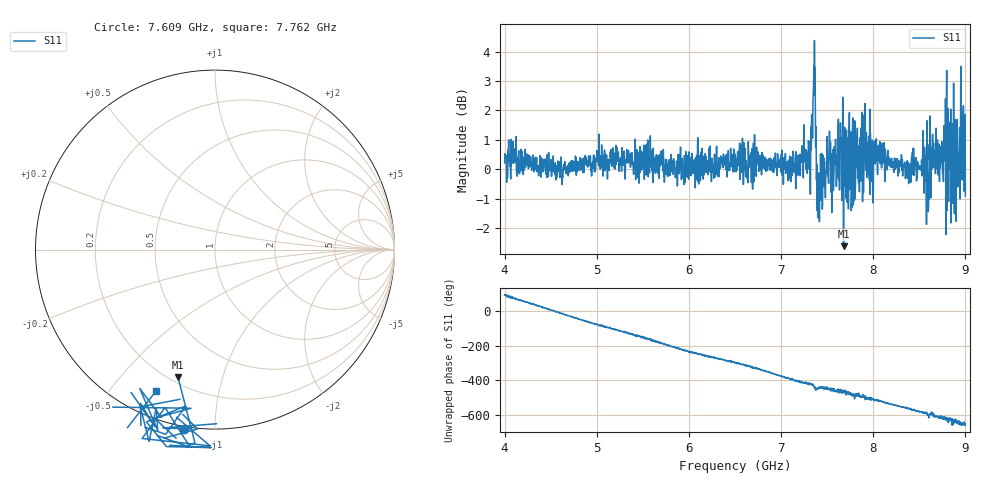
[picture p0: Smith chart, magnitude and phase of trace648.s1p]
! Created with skrf 1.8.0 (http://scikit-rf.org).
# Hz S RI R 50.0
!freq ReS11 ImS11
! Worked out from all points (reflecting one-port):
!   1601 points, 4 GHz to 9 GHz, reference 50 ohm
!   lowest |S11| = -2.6 dB at 7.678 GHz (marker M1), VSWR 6.72, Z = 11.5 - j36.3 ohm
!   phase of S11 starts at 91 deg and turns -740 deg over the sweep
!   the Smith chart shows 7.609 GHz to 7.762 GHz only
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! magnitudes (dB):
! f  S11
! 4 GHz  0.2
! 4.625 GHz  -0.5
! 5.25 GHz  0.2
! 5.875 GHz  -0.6
! 6.5 GHz  0.0
! 7.125 GHz  0.3
! 7.294 GHz  0.5
! 7.325 GHz  0.9
! 7.347 GHz  2.4
! 7.372 GHz  2.2
! 7.409 GHz  -0.4
! 7.512 GHz  -0.3
! 7.575 GHz  0.1
! 7.644 GHz  1.6
! 7.678 GHz  -2.6
! 7.75 GHz  -0.4
! 7.788 GHz  -0.3
! 7.928 GHz  1.1
! 8.375 GHz  0.0
! 8.522 GHz  -0.1
! 8.6 GHz  -1.3
! 8.666 GHz  0.6
! 8.741 GHz  0.2
! 8.788 GHz  -0.4
! 8.919 GHz  -0.4
! 8.956 GHz  0.4
! 8.972 GHz  0.7
! 9 GHz  -0.9
